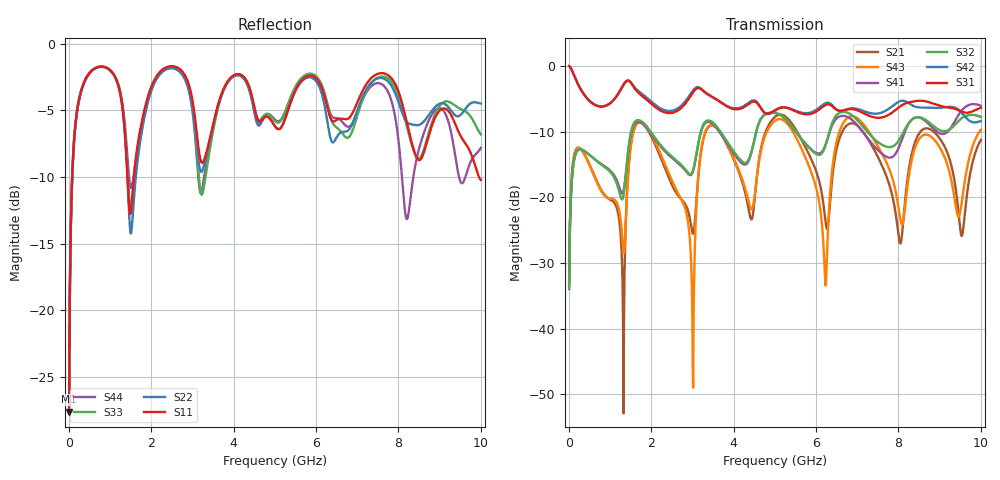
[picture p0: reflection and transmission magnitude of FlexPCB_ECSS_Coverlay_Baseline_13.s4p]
! TOUCHSTONE file generated by CST MICROWAVE STUDIO
! Date and time: Sun Jul  5 19:09:38 2026
! Project name: FlexPCB_ECSS_Coverlay_Baseline.cst
! Parameters = {Gap=0.6; GroundW=6; Hadh=0.025; Hcov=0.025; Hsub=0.1; L=50; Tcu=0.035; W=0.24}
! Header version: 2024
! Port assignment regex: !\s*Touchstone port\s*([0-9]+)\s*=\s*(CST MWS port|CST DES external port|CST DES block port)\s*(.+)\s* \(\"(.*)\"\)(\s*mode\s*([0-9]+))?.*
! Touchstone port assignment:
! Touchstone port 1 = CST MWS port 1 ("")
! Touchstone port 2 = CST MWS port 2 ("")
! Touchstone port 3 = CST MWS port 3 ("")
! Touchstone port 4 = CST MWS port 4 ("")
# GHz S MA R 50
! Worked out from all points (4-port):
!   1002 points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, 10 MHz to 10 GHz, reference 50 ohm
!   strongest paths, dB at 10 MHz, 2.51 GHz, 5.01 GHz, 7.503 GHz, 10 GHz:
!     S31: 0.0, -7.1, -6.7, -7.9, -6.3
!     S42: 0.0, -6.8, -6.8, -7.2, -8.4
!     S32: -33.9, -13.8, -7.1, -11.6, -7.8
!     S41: -33.9, -14.0, -7.2, -12.8, -6.1
!     S43: -33.1, -17.5, -8.3, -12.2, -9.7
!     S21: -33.1, -18.2, -7.7, -13.9, -11.3
!   lowest |S11| = -27.6 dB at 10 MHz (marker M1), VSWR 1.09, Z = 49.7 - j4.15 ohm
!   |S11| at or under -10 dB: start of sweep to 83.7 MHz; 1.425 GHz to 1.582 GHz (156.9 MHz wide, 10.4 % of centre); 9.95445 GHz to end of sweep
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0.01  0.04174 -92.2  0.02218 84.8  0.9977 -2.8  0.02008 84.8
      0.02218 84.8  0.04112 -92.2  0.02008 84.8  0.9977 -2.8
      0.9977 -2.8  0.02008 84.8  0.04175 -92.2  0.02218 84.8
      0.02008 84.8  0.9977 -2.8  0.02218 84.8  0.04112 -92.2
1.48  0.2333 164.7  0.212 92.3  0.7643 -168.8  0.2693 -94.7
      0.212 92.3  0.21 153.3  0.2777 -90.5  0.7635 -166.7
      0.7643 -168.8  0.2777 -90.5  0.2469 162.7  0.2074 77.8
      0.2693 -94.7  0.7635 -166.7  0.2074 77.8  0.2992 160.6
3.01  0.6048 150.4  0.05316 22.1  0.6267 42.4  0.1558 86.7
      0.05316 22.1  0.5686 149.8  0.1584 87.6  0.6482 40.7
      0.6267 42.4  0.1584 87.6  0.5726 144.0  0.004708 -45.7
      0.1558 86.7  0.6482 40.7  0.004708 -45.7  0.5453 143.3
3.18  0.3778 159.0  0.1883 62.3  0.6755 13.0  0.2893 78.1
      0.1883 62.3  0.3398 162.8  0.2958 79.1  0.6841 10.7
      0.6755 13.0  0.2958 79.1  0.2924 154.4  0.1897 79.7
      0.2893 78.1  0.6841 10.7  0.1897 79.7  0.2819 160.1
5.06  0.4797 176.9  0.421 13.4  0.4717 171.7  0.4336 -156.3
      0.421 13.4  0.481 178.6  0.4368 -155.6  0.4685 171.1
      0.4717 171.7  0.4368 -155.6  0.5068 179.7  0.3917 16.0
      0.4336 -156.3  0.4685 171.1  0.3917 16.0  0.5128 179.1
6.23  0.616 158.4  0.0659 -135.3  0.5054 48.8  0.2508 102.1
      0.0659 -135.3  0.5616 155.4  0.2488 107.1  0.5217 46.5
      0.5054 48.8  0.2488 107.1  0.6326 156.3  0.02136 4.1
      0.2508 102.1  0.5217 46.5  0.02136 4.1  0.6292 156.8
10  0.3085 175.2  0.2738 -7.4  0.4822 -6.5  0.4979 37.7
    0.2738 -7.4  0.5968 174.3  0.4091 39.1  0.3811 -18.0
    0.4822 -6.5  0.4091 39.1  0.4574 171.5  0.3266 5.5
    0.4979 37.7  0.3811 -18.0  0.3266 5.5  0.407 -159.7
